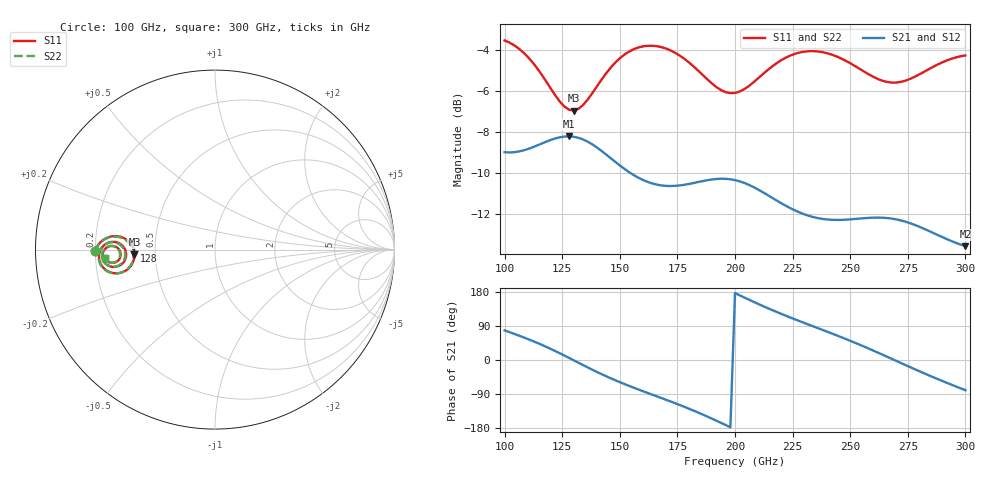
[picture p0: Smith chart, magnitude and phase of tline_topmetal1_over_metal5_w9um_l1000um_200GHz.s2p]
#  GHZ S DB R 50
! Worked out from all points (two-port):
!   101 points, 100 GHz to 300 GHz, reference 50 ohm
!   highest |S21| = -8.21 dB at 128 GHz (marker M1); lowest = -13.6 dB at 300 GHz (marker M2)
!   |S21| within 3 dB of the highest: start of sweep to 216 GHz
!   lowest |S11| = -6.9 dB at 130 GHz (marker M3), VSWR 2.63, Z = 19 - j1.35 ohm
!   |S11| at or under -10 dB: nowhere
!   |S22| runs from -6.9 to -3.5 dB; largest |S21 - S12| = 0
!   S11 on the Smith chart (normalised r, x): 100 GHz: 0.20, -0.00; 128 GHz: 0.38, -0.01; 300 GHz: 0.24, -0.04
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100  -3.51 -179.4  -8.99 78.1  -8.99 78.1  -3.49 -179.2
114  -4.86 172.4  -8.66 45.6  -8.66 45.6  -4.82 172.8
120  -5.86 172.9  -8.39 29.3  -8.39 29.3  -5.80 173.2
128  -6.91 -179.3  -8.21 5.4  -8.21 5.4  -6.82 -179.1
130  -6.94 -176.4  -8.23 -0.8  -8.23 -0.8  -6.86 -176.2
134  -6.68 -171.0  -8.36 -13.2  -8.36 -13.2  -6.60 -171.0
142  -5.44 -166.2  -8.92 -37.1  -8.92 -37.1  -5.39 -166.3
148  -4.60 -167.3  -9.46 -53.3  -9.46 -53.3  -4.56 -167.3
158  -3.86 -172.7  -10.23 -77.6  -10.23 -77.6  -3.83 -172.7
168  -3.84 -178.8  -10.61 -100.3  -10.61 -100.3  -3.80 -178.7
184  -4.99 175.6  -10.45 -138.7  -10.45 -138.7  -4.93 175.8
192  -5.80 177.9  -10.30 -160.4  -10.30 -160.4  -5.72 178.1
200  -6.08 -176.0  -10.36 176.6  -10.36 176.6  -5.99 -176.0
208  -5.57 -171.1  -10.69 153.7  -10.69 153.7  -5.49 -171.2
216  -4.80 -170.3  -11.21 132.1  -11.21 132.1  -4.74 -170.5
224  -4.25 -172.6  -11.73 112.2  -11.73 112.2  -4.21 -172.7
234  -4.04 -176.8  -12.17 88.7  -12.17 88.7  -4.00 -176.9
250  -4.63 178.1  -12.28 50.7  -12.28 50.7  -4.59 178.2
260  -5.29 179.0  -12.20 24.9  -12.20 24.9  -5.24 179.0
268  -5.58 -177.7  -12.24 3.1  -12.24 3.1  -5.52 -177.7
284  -4.93 -172.6  -12.84 -40.1  -12.84 -40.1  -4.88 -172.7
300  -4.25 -175.5  -13.59 -79.7  -13.59 -79.7  -4.22 -175.6
